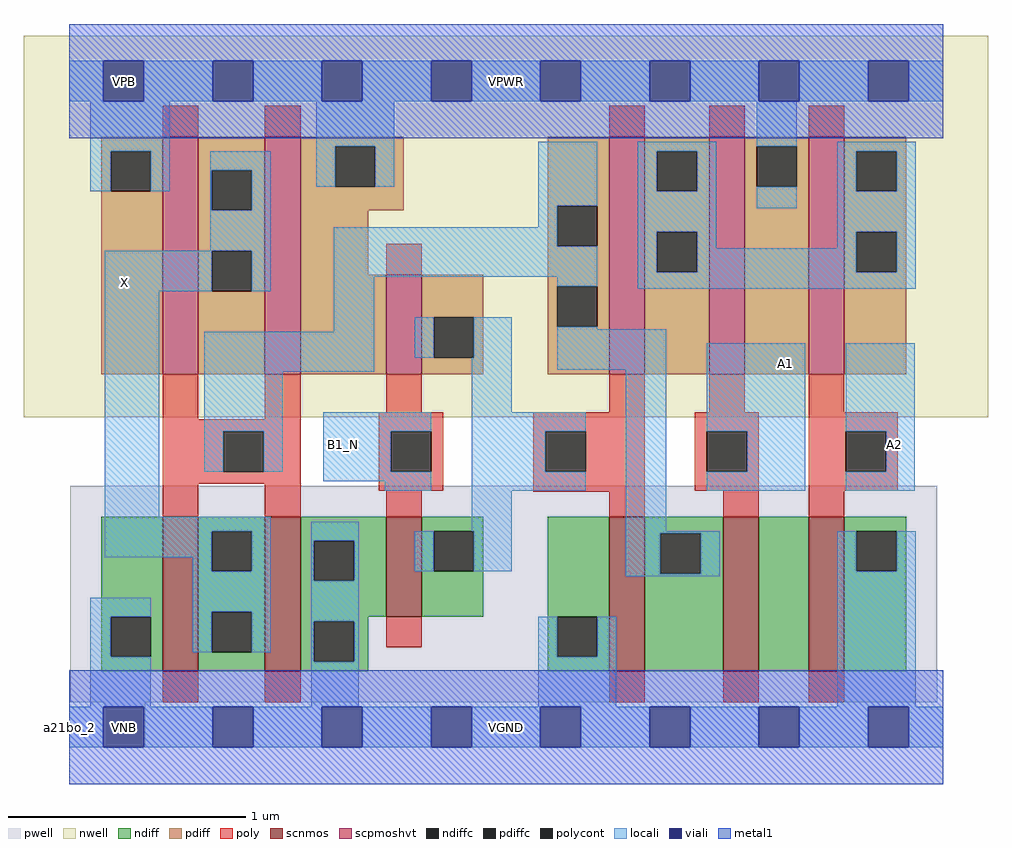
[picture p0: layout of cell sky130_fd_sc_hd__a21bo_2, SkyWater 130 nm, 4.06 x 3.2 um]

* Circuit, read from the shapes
.subckt sky130_fd_sc_hd__a21bo_2 A1 A2 B1_N VGND VNB VPB VPWR X
XM1 X n1 VGND VNB sky130_fd_pr__nfet_01v8 w=0.65 l=0.15 m=2
XM2 n2 B1_N VGND VNB sky130_fd_pr__nfet_01v8 w=0.42 l=0.15
XM3 n1 n2 VGND VNB sky130_fd_pr__nfet_01v8 w=0.65 l=0.15
XM4 n3 A1 n1 VNB sky130_fd_pr__nfet_01v8 w=0.65 l=0.15
XM5 VGND A2 n3 VNB sky130_fd_pr__nfet_01v8 w=0.65 l=0.15
XM6 X n1 VPWR VPB sky130_fd_pr__pfet_01v8_hvt w=1 l=0.15 m=2
XM7 n2 B1_N VPWR VPB sky130_fd_pr__pfet_01v8_hvt w=0.42 l=0.15
XM8 n4 n2 n1 VPB sky130_fd_pr__pfet_01v8_hvt w=1 l=0.15
XM9 VPWR A1 n4 VPB sky130_fd_pr__pfet_01v8_hvt w=1 l=0.15
XM10 n4 A2 VPWR VPB sky130_fd_pr__pfet_01v8_hvt w=1 l=0.15
.ends

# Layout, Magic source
magic
tech sky130A
magscale 1 2
<< nwell >>
rect -38 261 774 582
<< pwell >>
rect 1 21 731 203
rect 30 -17 64 21
<< scnmos >>
rect 79 47 109 177
rect 165 47 195 177
rect 267 93 297 177
rect 455 47 485 177
rect 551 47 581 177
rect 623 47 653 177
<< scpmoshvt >>
rect 79 297 109 497
rect 165 297 195 497
rect 267 297 297 381
rect 455 297 485 497
rect 539 297 569 497
rect 623 297 653 497
<< ndiff >>
rect 27 93 79 177
rect 27 59 35 93
rect 69 59 79 93
rect 27 47 79 59
rect 109 165 165 177
rect 109 131 120 165
rect 154 131 165 165
rect 109 97 165 131
rect 109 63 120 97
rect 154 63 165 97
rect 109 47 165 63
rect 195 157 267 177
rect 195 123 206 157
rect 240 123 267 157
rect 195 93 267 123
rect 297 165 349 177
rect 297 131 307 165
rect 341 131 349 165
rect 297 93 349 131
rect 403 93 455 177
rect 195 89 252 93
rect 195 55 206 89
rect 240 55 252 89
rect 195 47 252 55
rect 403 59 411 93
rect 445 59 455 93
rect 403 47 455 59
rect 485 163 551 177
rect 485 129 498 163
rect 532 129 551 163
rect 485 47 551 129
rect 581 47 623 177
rect 653 165 705 177
rect 653 131 663 165
rect 697 131 705 165
rect 653 47 705 131
<< pdiff >>
rect 27 485 79 497
rect 27 451 35 485
rect 69 451 79 485
rect 27 297 79 451
rect 109 469 165 497
rect 109 435 120 469
rect 154 435 165 469
rect 109 401 165 435
rect 109 367 120 401
rect 154 367 165 401
rect 109 297 165 367
rect 195 489 282 497
rect 195 455 224 489
rect 258 455 282 489
rect 195 435 282 455
rect 403 439 455 497
rect 195 381 252 435
rect 403 405 411 439
rect 445 405 455 439
rect 195 297 267 381
rect 297 345 349 381
rect 297 311 307 345
rect 341 311 349 345
rect 297 297 349 311
rect 403 371 455 405
rect 403 337 411 371
rect 445 337 455 371
rect 403 297 455 337
rect 485 485 539 497
rect 485 451 495 485
rect 529 451 539 485
rect 485 417 539 451
rect 485 383 495 417
rect 529 383 539 417
rect 485 297 539 383
rect 569 489 623 497
rect 569 455 579 489
rect 613 455 623 489
rect 569 297 623 455
rect 653 485 705 497
rect 653 451 663 485
rect 697 451 705 485
rect 653 417 705 451
rect 653 383 663 417
rect 697 383 705 417
rect 653 297 705 383
<< ndiffc >>
rect 35 59 69 93
rect 120 131 154 165
rect 120 63 154 97
rect 206 123 240 157
rect 307 131 341 165
rect 206 55 240 89
rect 411 59 445 93
rect 498 129 532 163
rect 663 131 697 165
<< pdiffc >>
rect 35 451 69 485
rect 120 435 154 469
rect 120 367 154 401
rect 224 455 258 489
rect 411 405 445 439
rect 307 311 341 345
rect 411 337 445 371
rect 495 451 529 485
rect 495 383 529 417
rect 579 455 613 489
rect 663 451 697 485
rect 663 383 697 417
<< poly >>
rect 79 497 109 523
rect 165 497 195 523
rect 455 497 485 523
rect 539 497 569 523
rect 623 497 653 523
rect 267 381 297 407
rect 79 259 109 297
rect 165 259 195 297
rect 267 265 297 297
rect 455 265 485 297
rect 539 265 569 297
rect 623 265 653 297
rect 79 249 195 259
rect 79 215 130 249
rect 164 215 195 249
rect 79 205 195 215
rect 79 177 109 205
rect 165 177 195 205
rect 261 249 315 265
rect 261 215 271 249
rect 305 215 315 249
rect 261 199 315 215
rect 391 249 485 265
rect 391 215 401 249
rect 435 215 485 249
rect 267 177 297 199
rect 391 198 485 215
rect 527 249 581 265
rect 527 215 537 249
rect 571 215 581 249
rect 527 199 581 215
rect 455 177 485 198
rect 551 177 581 199
rect 623 249 698 265
rect 623 215 654 249
rect 688 215 698 249
rect 623 199 698 215
rect 623 177 653 199
rect 267 67 297 93
rect 79 21 109 47
rect 165 21 195 47
rect 455 21 485 47
rect 551 21 581 47
rect 623 21 653 47
<< polycont >>
rect 130 215 164 249
rect 271 215 305 249
rect 401 215 435 249
rect 537 215 571 249
rect 654 215 688 249
<< locali >>
rect 0 527 29 561
rect 63 527 121 561
rect 155 527 213 561
rect 247 527 305 561
rect 339 527 397 561
rect 431 527 489 561
rect 523 527 581 561
rect 615 527 673 561
rect 707 527 736 561
rect 18 485 85 527
rect 208 489 274 527
rect 18 451 35 485
rect 69 451 85 485
rect 119 469 170 485
rect 119 435 120 469
rect 154 435 170 469
rect 208 455 224 489
rect 258 455 274 489
rect 119 401 170 435
rect 395 439 445 493
rect 395 421 411 439
rect 30 367 120 401
rect 154 367 170 401
rect 223 405 411 421
rect 223 379 445 405
rect 30 177 76 367
rect 223 333 257 379
rect 411 371 445 379
rect 114 299 257 333
rect 291 311 307 345
rect 341 311 373 345
rect 114 249 180 299
rect 339 265 373 311
rect 479 485 545 493
rect 479 451 495 485
rect 529 451 545 485
rect 479 417 545 451
rect 579 489 613 527
rect 579 437 613 455
rect 647 485 713 493
rect 647 451 663 485
rect 697 451 713 485
rect 479 383 495 417
rect 529 403 545 417
rect 647 417 713 451
rect 647 403 663 417
rect 529 383 663 403
rect 697 383 713 417
rect 479 369 713 383
rect 411 335 445 337
rect 411 301 503 335
rect 114 215 130 249
rect 164 215 180 249
rect 214 249 305 265
rect 214 215 271 249
rect 214 207 305 215
rect 266 199 305 207
rect 339 249 435 265
rect 339 215 401 249
rect 339 199 435 215
rect 30 165 170 177
rect 30 143 120 165
rect 104 131 120 143
rect 154 131 170 165
rect 18 93 69 109
rect 18 59 35 93
rect 104 97 170 131
rect 104 63 120 97
rect 154 63 170 97
rect 204 157 244 173
rect 339 165 373 199
rect 204 123 206 157
rect 240 123 244 157
rect 291 131 307 165
rect 341 131 373 165
rect 469 165 503 301
rect 537 249 620 323
rect 571 215 620 249
rect 537 199 620 215
rect 654 249 712 323
rect 688 215 712 249
rect 654 199 712 215
rect 469 163 548 165
rect 469 129 498 163
rect 532 129 548 163
rect 469 127 548 129
rect 647 131 663 165
rect 697 131 713 165
rect 204 89 244 123
rect 18 17 69 59
rect 204 55 206 89
rect 240 55 244 89
rect 204 17 244 55
rect 395 59 411 93
rect 445 59 461 93
rect 395 17 461 59
rect 647 17 713 131
rect 0 -17 29 17
rect 63 -17 121 17
rect 155 -17 213 17
rect 247 -17 305 17
rect 339 -17 397 17
rect 431 -17 489 17
rect 523 -17 581 17
rect 615 -17 673 17
rect 707 -17 736 17
<< viali >>
rect 29 527 63 561
rect 121 527 155 561
rect 213 527 247 561
rect 305 527 339 561
rect 397 527 431 561
rect 489 527 523 561
rect 581 527 615 561
rect 673 527 707 561
rect 29 -17 63 17
rect 121 -17 155 17
rect 213 -17 247 17
rect 305 -17 339 17
rect 397 -17 431 17
rect 489 -17 523 17
rect 581 -17 615 17
rect 673 -17 707 17
<< metal1 >>
rect 0 561 736 592
rect 0 527 29 561
rect 63 527 121 561
rect 155 527 213 561
rect 247 527 305 561
rect 339 527 397 561
rect 431 527 489 561
rect 523 527 581 561
rect 615 527 673 561
rect 707 527 736 561
rect 0 496 736 527
rect 0 17 736 48
rect 0 -17 29 17
rect 63 -17 121 17
rect 155 -17 213 17
rect 247 -17 305 17
rect 339 -17 397 17
rect 431 -17 489 17
rect 523 -17 581 17
rect 615 -17 673 17
rect 707 -17 736 17
rect 0 -48 736 -17
<< labels >>
flabel locali s 214 221 248 255 0 FreeSans 340 0 0 0 B1_N
port 3 nsew signal input
flabel locali s 678 221 712 255 0 FreeSans 340 0 0 0 A2
port 2 nsew signal input
flabel locali s 30 357 64 391 0 FreeSans 340 0 0 0 X
port 8 nsew signal output
flabel locali s 586 289 620 323 0 FreeSans 340 0 0 0 A1
port 1 nsew signal input
flabel pwell s 30 -17 64 17 0 FreeSans 200 0 0 0 VNB
port 5 nsew ground bidirectional
flabel nwell s 30 527 64 561 0 FreeSans 200 0 0 0 VPB
port 6 nsew power bidirectional
flabel metal1 s 30 -17 64 17 0 FreeSans 200 0 0 0 VGND
port 4 nsew ground bidirectional abutment
flabel metal1 s 30 527 64 561 0 FreeSans 200 0 0 0 VPWR
port 7 nsew power bidirectional abutment
rlabel comment s 0 0 0 0 4 a21bo_2
rlabel metal1 s 0 -48 736 48 1 VGND
port 4 nsew ground bidirectional abutment
rlabel metal1 s 0 496 736 592 1 VPWR
port 7 nsew power bidirectional abutment
<< properties >>
string FIXED_BBOX 0 0 736 544
string GDS_END 3974498
string GDS_FILE $PDKPATH/libs.ref/sky130_fd_sc_hd/gds/sky130_fd_sc_hd.gds
string GDS_START 3968202
string LEFclass CORE
string LEFsite unithd
string LEFsymmetry X Y R90
string path 0.000 0.000 18.400 0.000 
<< end >>
